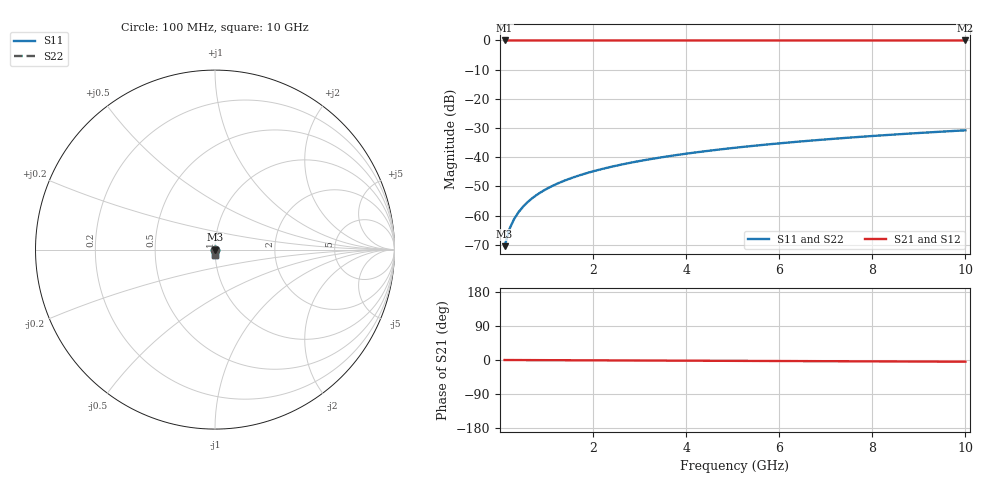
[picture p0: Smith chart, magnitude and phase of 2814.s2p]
# Hz S RI R 50.00
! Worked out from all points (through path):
!   100 points, 100 MHz to 10 GHz, reference 50 ohm
!   highest |S21| = 0.00 dB at 100 MHz (marker M1); lowest = 0.0 dB at 10 GHz (marker M2)
!   lowest |S11| = -70.5 dB at 100 MHz (marker M3), VSWR 1.00, Z = 50 - j0.0286 ohm
!   |S11| at or under -10 dB: start of sweep to end of sweep
!   |S22| runs from -70.5 to -30.8 dB; largest |S21 - S12| = 0
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1e8  8.88e-05 -0.000286  0.9999 -0.000782  0.9999 -0.000782  8.88e-05 -0.000286
2e8  8.83e-05 -0.000572  0.9999 -0.00156  0.9999 -0.00156  8.83e-05 -0.000572
3e8  8.71e-05 -0.000858  0.9999 -0.00235  0.9999 -0.00235  8.71e-05 -0.000858
4e8  8.54e-05 -0.00114  0.9999 -0.00313  0.9999 -0.00313  8.54e-05 -0.00114
5e8  8.32e-05 -0.00143  0.9999 -0.00391  0.9999 -0.00391  8.32e-05 -0.00143
6e8  8.05e-05 -0.00172  0.9999 -0.00469  0.9999 -0.00469  8.05e-05 -0.00172
7e8  7.73e-05 -0.002  0.9999 -0.00548  0.9999 -0.00548  7.73e-05 -0.002
8e8  7.37e-05 -0.00229  0.9999 -0.00626  0.9999 -0.00626  7.37e-05 -0.00229
9e8  6.96e-05 -0.00257  0.9999 -0.00704  0.9999 -0.00704  6.96e-05 -0.00257
1.1e9  6.01e-05 -0.00315  0.9999 -0.00861  0.9999 -0.00861  6.01e-05 -0.00315
1.4e9  4.23e-05 -0.00401  0.9998 -0.011  0.9998 -0.011  4.23e-05 -0.00401
1.8e9  1.22e-05 -0.00515  0.9998 -0.0141  0.9998 -0.0141  1.22e-05 -0.00515
2.1e9  -1.52e-05 -0.00602  0.9997 -0.0164  0.9997 -0.0164  -1.52e-05 -0.00602
2.5e9  -5.8e-05 -0.00716  0.9997 -0.0196  0.9997 -0.0196  -5.8e-05 -0.00716
2.9e9  -0.000108 -0.00831  0.9996 -0.0227  0.9996 -0.0227  -0.000108 -0.00831
3.4e9  -0.000181 -0.00975  0.9995 -0.0266  0.9995 -0.0266  -0.000181 -0.00975
4.2e9  -0.000322 -0.0121  0.9993 -0.0329  0.9993 -0.0329  -0.000322 -0.0121
5.1e9  -0.000515 -0.0147  0.999 -0.04  0.999 -0.04  -0.000515 -0.0147
5.9e9  -0.000718 -0.017  0.9986 -0.0464  0.9986 -0.0464  -0.000718 -0.017
6.7e9  -0.000951 -0.0193  0.9983 -0.0527  0.9983 -0.0527  -0.000951 -0.0193
8.4e9  -0.00155 -0.0242  0.9974 -0.0662  0.9974 -0.0662  -0.00155 -0.0242
1e10  -0.00223 -0.0288  0.9963 -0.0789  0.9963 -0.0789  -0.00223 -0.0288
